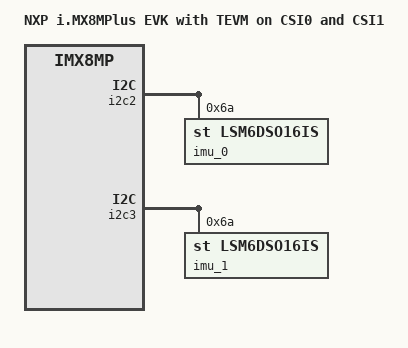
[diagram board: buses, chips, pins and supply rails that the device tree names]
// SPDX-License-Identifier: (GPL-2.0+ OR MIT)

#include "imx8mp-evk-dual-tevs.dtsi"

/ {
	model = "NXP i.MX8MPlus EVK with TEVM on CSI0 and CSI1";
};

&i2c2 {
	imu_0: lsm6dsm@6a {
		compatible = "st,lsm6dso16is";
		reg = <0x6a>;
	};
};

&i2c3 {
	imu_1: lsm6dsm@6a {
		compatible = "st,lsm6dso16is";
		reg = <0x6a>;
	};
};
